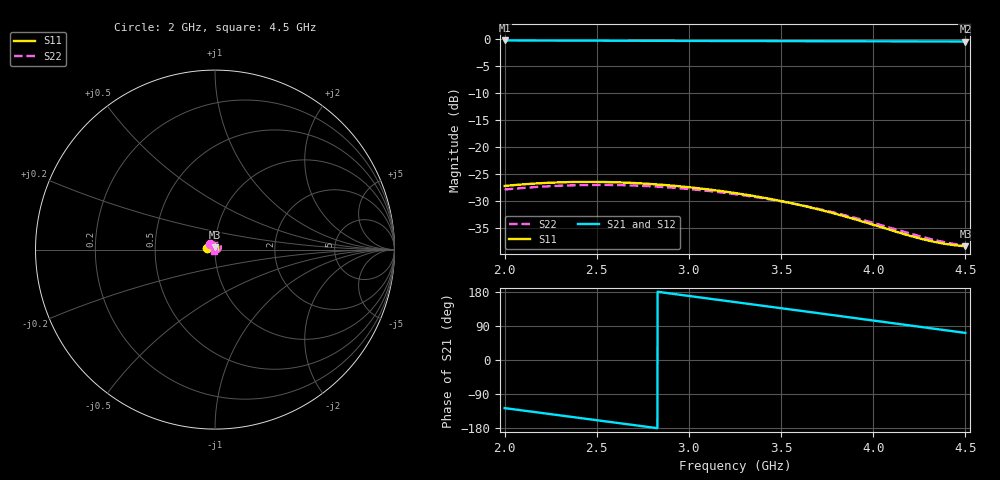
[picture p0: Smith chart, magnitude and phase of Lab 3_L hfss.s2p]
! Touchstone file from project Lab 3
! Exported from HFSS 2017.1.0
! Variables:
!  $thru = 40mm
!  h = 62mil
!  line = 28.44mm
!  port_h = 496mil
!  port_w = 24.13968mm
!  sub_w = 30.1746mm
!  subx = 15mm
!  suby = 15mm
!  subz = 62mil
!  width = 3.01746mm
!Data is not renormalized
# GHZ S MA
! Modal data exported
! Port[1] = 1:1
! Port[2] = 2:1
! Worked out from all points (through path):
!   2501 points, 2 GHz to 4.5 GHz, reference per port
!   highest |S21| = -0.25 dB at 2 GHz (marker M1); lowest = -0.4 dB at 4.5 GHz (marker M2)
!   group delay of S21, straight-line fit = 180 ps
!   lowest |S11| = -38.5 dB at 4.5 GHz (marker M3), VSWR 1.02
!   |S11| at or under -10 dB: start of sweep to end of sweep
!   |S22| runs from -38.3 to -27.1 dB; largest |S21 - S12| = 1.8e-14
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2  0.04329 167.4  0.9721 -126.9  0.9721 -126.9  0.04008 129.9
! Gamma ! 0.701015758620409 76.6489313651967 0.703203122624229 76.7580467197959
! Port Impedance51.1011717944768 0.462371694072636 51.390183676719 0.465016940496842
2.098  0.04476 162.1  0.971 -133.2  0.971 -133.2  0.04146 122.7
2.222  0.04617 155.2  0.9697 -141.1  0.9697 -141.1  0.04286 113.3
2.417  0.04722 144.1  0.9677 -153.5  0.9677 -153.5  0.04411 98.0
2.523  0.04716 138.1  0.9667 -160.3  0.9667 -160.3  0.04426 89.5
2.627  0.04669 132.2  0.9658 -167.0  0.9658 -167.0  0.04404 81.0
2.731  0.04583 126.4  0.9649 -173.6  0.9649 -173.6  0.04347 72.4
2.834  0.04464 120.8  0.964 179.7  0.964 179.7  0.04258 63.9
2.937  0.04315 115.4  0.9632 173.1  0.9632 173.1  0.04139 55.3
3.04  0.04141 110.1  0.9624 166.5  0.9624 166.5  0.03995 46.6
3.144  0.03942 105.0  0.9615 159.8  0.9615 159.8  0.03825 37.8
3.25  0.0372 100.1  0.9607 152.9  0.9607 152.9  0.03632 28.6
3.452  0.03252 91.4  0.9591 139.8  0.9591 139.8  0.03219 10.5
3.667  0.02713 83.8  0.9574 125.9  0.9574 125.9  0.02734 -10.1
3.774  0.02439 81.0  0.9565 118.9  0.9565 118.9  0.02484 -21.1
3.879  0.02175 79.1  0.9556 112.1  0.9556 112.1  0.02239 -32.7
3.982  0.01929 78.3  0.9548 105.4  0.9548 105.4  0.02005 -45.0
4.084  0.01706 78.9  0.9539 98.7  0.9539 98.7  0.01787 -58.2
4.187  0.01511 81.2  0.953 92.0  0.953 92.0  0.01588 -72.9
4.289  0.01358 85.1  0.952 85.3  0.952 85.3  0.01421 -89.0
4.398  0.01247 90.9  0.951 78.2  0.951 78.2  0.01288 -107.6
4.5  0.01194 97.1  0.9501 71.5  0.9501 71.5  0.01212 -126.0
